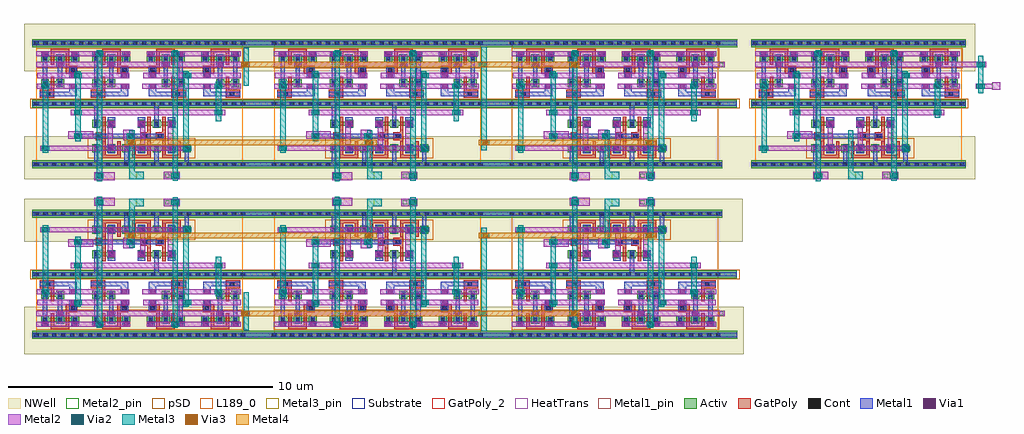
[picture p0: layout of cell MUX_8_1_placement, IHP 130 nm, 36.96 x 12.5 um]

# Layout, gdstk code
from math import pi, radians
import gdstk
lib = gdstk.Library(unit=1e-6, precision=5e-09)
def R(c, l, rs):  # rectangles x0, y0, x1, y1
    for r in rs: c.add(gdstk.rectangle(r[:2], r[2:], *l))
def A(c, l, x, y, w, h, nx, ny, dx, dy):  # array of equal rectangles
    R(c, l, [(x+i*dx, y+j*dy, x+i*dx+w, y+j*dy+h) for i in range(nx) for j in range(ny)])
Activ = (1, 0)
GatPoly = (5, 0)
GatPoly_2 = (5, 2)
Cont = (6, 0)
Metal1 = (8, 0)
Metal1_pin = (8, 2)
Metal2 = (10, 0)
Metal2_pin = (10, 2)
pSD = (14, 0)
Via1 = (19, 0)
Via2 = (29, 0)
Metal3 = (30, 0)
Metal3_pin = (30, 2)
NWell = (31, 0)
Substrate = (40, 0)
Via3 = (49, 0)
Metal4 = (50, 0)
HeatTrans = (51, 0)
L189_0 = (189, 0)

via_stack_10 = lib.new_cell('via_stack$10')
R(via_stack_10, Metal3, [(-0.145,-0.1,0.145,0.1)])
R(via_stack_10, Via3, [(-0.095,-0.095,0.095,0.095)])
R(via_stack_10, Metal4, [(-0.145,-0.1,0.145,0.1)])

nmos_1_6_2 = lib.new_cell('nmos$1$6$2')
R(nmos_1_6_2, Activ, [(0,0.025,0.3,0.325), (0.57,0.025,0.87,0.325), (0,0.1,0.87,0.25)])
R(nmos_1_6_2, GatPoly, [(0.37,-0.08,0.5,0.43)])
R(nmos_1_6_2, GatPoly_2, [(0.37,-0.08,0.5,0.43)])
R(nmos_1_6_2, Cont, [(0.07,0.095,0.23,0.255), (0.64,0.095,0.8,0.255)])
R(nmos_1_6_2, Metal1, [(0.07,0.045,0.23,0.305), (0.64,0.045,0.8,0.305)])
R(nmos_1_6_2, Metal1_pin, [(0.07,0.045,0.23,0.305), (0.64,0.045,0.8,0.305)])
R(nmos_1_6_2, HeatTrans, [(0.37,-0.08,0.5,0.43)])
nmos_1_6_2.add(gdstk.Label('nmos', (0.435,0.175), layer=63, texttype=0))
nmos_1_6_2.add(gdstk.Label('nmos', (0.435,0.175), layer=51, texttype=0))

pmos_7_2 = lib.new_cell('pmos$7$2')
R(pmos_7_2, Activ, [(0,-0.04,0.3,0.26), (0.57,-0.04,0.87,0.26), (0,0.035,0.87,0.185)])
R(pmos_7_2, GatPoly, [(0.37,-0.145,0.5,0.365), (0.37,-0.145,0.5,0.365)])
R(pmos_7_2, Cont, [(0.07,0.03,0.23,0.19), (0.64,0.03,0.8,0.19)])
R(pmos_7_2, Metal1, [(0.07,-0.02,0.23,0.24), (0.07,-0.02,0.23,0.25), (0.64,-0.02,0.8,0.24), (0.64,-0.02,0.8,0.24)])
R(pmos_7_2, pSD, [(-0.18,-0.265,1.05,0.485)])
R(pmos_7_2, NWell, [(-0.31,-0.38,1.18,0.545)])
R(pmos_7_2, Substrate, [(0.57,-0.04,0.87,0.26)])
R(pmos_7_2, HeatTrans, [(0.37,-0.145,0.5,0.365)])
pmos_7_2.add(gdstk.Label('pmos', (0.435,0.11), layer=63, texttype=0))
pmos_7_2.add(gdstk.Label('pmos', (0.435,0.11), layer=51, texttype=0))

via_stack_11 = lib.new_cell('via_stack$11')
R(via_stack_11, Metal1, [(-0.145,-0.105,0.145,0.105)])
R(via_stack_11, Metal2, [(-0.145,-0.1,0.145,0.1)])
R(via_stack_11, Via1, [(-0.095,-0.095,0.095,0.095)])

tg_2c_3 = lib.new_cell('TG_2C$3')
R(tg_2c_3, GatPoly, [(1.38,1.31,1.68,1.61)])
R(tg_2c_3, GatPoly_2, [(0.26,0.395,0.81,0.695), (1.38,1.31,1.68,1.61)])
R(tg_2c_3, Cont, [(0.5,0.465,0.66,0.625), (1.45,1.38,1.61,1.54)])
R(tg_2c_3, Metal1, [(0.25,0.095,1.83,0.255), (0.26,0.455,1.67,0.635), (1.38,0.455,1.67,0.81), (1.38,1.195,1.67,1.55), (1.38,1.37,1.67,1.55), (0.42,1.75,0.54,2.04), (1.52,1.75,1.68,2.04), (0.24,2.39,1.82,2.55)])
R(tg_2c_3, Metal1_pin, [(0.25,0.095,1.83,0.255), (0.26,0.455,0.8,0.635), (0.95,0.865,1.11,1.02), (1.38,1.37,1.67,1.55), (0.24,2.39,1.82,2.55)])
R(tg_2c_3, pSD, [(-0.09,-0.005,1.94,0.355)])
R(tg_2c_3, NWell, [(0,2.335,2.06,2.86)])
tg_2c_3.add(gdstk.FlexPath([(0.46,2.03),(0.46,0.815)], 0.16, ends="flush", simple_path=True, layer=8, datatype=0))  # Metal1
tg_2c_3.add(gdstk.FlexPath([(1.03,2.03),(1.03,0.815)], 0.16, ends="flush", simple_path=True, layer=8, datatype=0))  # Metal1
tg_2c_3.add(gdstk.FlexPath([(0.26,0.545),(0.81,0.545),(0.81,0.545)], 0.3, ends="flush", simple_path=True, layer=5, datatype=0))  # GatPoly
tg_2c_3.add(gdstk.FlexPath([(1.315,1.645),(1.315,1.34),(1.315,1.31)], 0.13, ends="flush", simple_path=True, layer=5, datatype=0))  # GatPoly
tg_2c_3.add(gdstk.FlexPath([(0.745,2.085),(0.745,2.185),(1.315,2.185),(1.315,2.085)], 0.13, ends="flush", simple_path=True, layer=5, datatype=0))  # GatPoly
tg_2c_3.add(gdstk.FlexPath([(0.31,2.065),(1.75,2.065),(1.75,2.065)], 0.2, ends="flush", simple_path=True, layer=10, datatype=0))  # Metal2
tg_2c_3.add(gdstk.Reference(nmos_1_6_2, (0.31,0.77)))
tg_2c_3.add(gdstk.Reference(pmos_7_2, (0.31,1.79)))
tg_2c_3.add(gdstk.Reference(pmos_7_2, (0.88,1.79)))
tg_2c_3.add(gdstk.Reference(via_stack_11, (0.46,2.065)))
tg_2c_3.add(gdstk.Reference(via_stack_11, (1.595,2.065)))
tg_2c_3.add(gdstk.Label('VCTRLP', (1.51,1.39), layer=8, texttype=25))
tg_2c_3.add(gdstk.Label('VSS', (0.33,0.155), layer=8, texttype=25))
tg_2c_3.add(gdstk.Label('VCTRLN', (0.495,0.51), layer=8, texttype=25))
tg_2c_3.add(gdstk.Label('VOUT', (1.065,0.91), layer=8, texttype=25))
tg_2c_3.add(gdstk.Label('VIN', (0.425,0.935), layer=8, texttype=25))
tg_2c_3.add(gdstk.Label('VDD', (0.33,2.45), layer=8, texttype=25))

pmos_27_1 = lib.new_cell('pmos$27$1')
R(pmos_27_1, Activ, [(0,0,0.3,0.3), (0.57,0,0.87,0.3), (0,0.075,0.87,0.225)])
R(pmos_27_1, GatPoly, [(0.37,-0.105,0.5,0.405), (0.37,-0.105,0.5,0.405)])
R(pmos_27_1, Cont, [(0.07,0.07,0.23,0.23), (0.64,0.07,0.8,0.23)])
R(pmos_27_1, Metal1, [(0.07,0.02,0.23,0.28), (0.07,0.02,0.23,0.28), (0.64,0.02,0.8,0.28), (0.64,0.02,0.8,0.28)])
R(pmos_27_1, pSD, [(-0.18,-0.225,1.05,0.525)])
R(pmos_27_1, NWell, [(-0.31,-0.31,1.18,0.61)])
R(pmos_27_1, Substrate, [(0.57,0,0.87,0.3)])
R(pmos_27_1, HeatTrans, [(0.37,-0.105,0.5,0.405)])
pmos_27_1.add(gdstk.Label('pmos', (0.435,0.15), layer=63, texttype=0))
pmos_27_1.add(gdstk.Label('pmos', (0.435,0.15), layer=51, texttype=0))

nmos_1_2_3_1 = lib.new_cell('nmos$1$2$3$1')
R(nmos_1_2_3_1, Activ, [(0,0,0.3,0.3), (0.57,0,0.87,0.3), (0,0.075,0.87,0.225)])
R(nmos_1_2_3_1, GatPoly, [(0.37,-0.105,0.5,0.405)])
R(nmos_1_2_3_1, GatPoly_2, [(0.37,-0.105,0.5,0.405)])
R(nmos_1_2_3_1, Cont, [(0.07,0.07,0.23,0.23), (0.64,0.07,0.8,0.23)])
R(nmos_1_2_3_1, Metal1, [(0.07,0.02,0.23,0.28), (0.64,0.02,0.8,0.28)])
R(nmos_1_2_3_1, Metal1_pin, [(0.07,0.02,0.23,0.28), (0.64,0.02,0.8,0.28)])
R(nmos_1_2_3_1, HeatTrans, [(0.37,-0.105,0.5,0.405)])
nmos_1_2_3_1.add(gdstk.Label('nmos', (0.435,0.15), layer=63, texttype=0))
nmos_1_2_3_1.add(gdstk.Label('nmos', (0.435,0.15), layer=51, texttype=0))

inv_1 = lib.new_cell('INV$1')
R(inv_1, GatPoly, [(-0.045,-0.365,0.085,0.135), (-0.045,0.645,0.655,0.775)])
R(inv_1, GatPoly_2, [(-0.045,-0.285,0.085,0.135)])
R(inv_1, Metal1, [(-0.6,-1.375,1.235,-1.215), (-0.345,-1.375,-0.185,-0.49), (-0.345,0.26,-0.185,1.075), (0.205,0.26,0.405,0.52), (0.795,0.26,0.955,1.075), (-0.345,0.915,0.955,1.075)])
R(inv_1, Metal1_pin, [(-0.6,-1.375,1.235,-1.215), (-0.345,-1.375,-0.185,-1.215), (-0.345,0.915,-0.185,1.075), (-0.345,0.915,0.955,1.075), (0.795,0.915,0.955,1.075)])
R(inv_1, Metal2, [(0.16,-0.645,0.36,0.49)])
R(inv_1, Metal2_pin, [(0.16,-0.17,0.36,0.015)])
R(inv_1, pSD, [(-0.73,-1.475,1.365,-1.115)])
r = gdstk.Reference(pmos_27_1, (-0.415,0.24)); r.repetition = gdstk.Repetition(2, 1, v1=(0.57,0), v2=(0,0)); inv_1.add(r)
inv_1.add(gdstk.Reference(nmos_1_2_3_1, (-0.415,-0.69)))

inv_d3_1 = lib.new_cell('INV_D3$1')
R(inv_d3_1, GatPoly, [(0.435,1.055,0.685,1.355), (2.145,1.055,2.395,1.355), (2.715,1.055,2.965,1.355)])
R(inv_d3_1, GatPoly_2, [(0.435,1.055,0.685,1.355), (2.145,1.055,2.395,1.355), (2.715,1.055,2.965,1.355)])
R(inv_d3_1, Cont, [(0.515,1.125,0.675,1.285), (2.225,1.125,2.385,1.285), (2.795,1.125,2.955,1.285)])
R(inv_d3_1, Metal1, [(0.13,-0.1,4.245,0.06), (2.03,0.49,2.32,0.865), (3.17,0.49,3.46,0.865), (0.89,0.495,1.18,0.865), (0.465,1.115,0.685,1.295), (0.465,1.115,3.01,1.295), (2.175,1.115,2.395,1.295), (2.785,1.115,2.965,1.295), (0.89,1.535,1.18,1.85), (2.03,1.535,2.32,1.86), (3.17,1.535,3.46,1.865), (0.385,2.19,3.965,2.35)])
R(inv_d3_1, Metal1_pin, [(0.13,-0.1,4.245,0.06), (0.385,-0.1,0.545,0.06), (0.465,1.115,0.685,1.295), (2.175,1.115,2.395,1.295), (2.785,1.115,2.965,1.295), (0.385,2.19,0.545,2.35), (0.385,2.19,3.965,2.35)])
R(inv_d3_1, Metal2, [(0.935,1.565,3.415,1.765)])
R(inv_d3_1, NWell, [(0.005,2.125,4.345,2.735)])
r = gdstk.Reference(inv_1, (0.73,1.275)); r.repetition = gdstk.Repetition(2, 1, v1=(2.28,0), v2=(0,0)); inv_d3_1.add(r)
inv_d3_1.add(gdstk.Reference(via_stack_11, (1.035,0.73)))
inv_d3_1.add(gdstk.Reference(via_stack_11, (3.315,0.73)))
inv_d3_1.add(gdstk.Reference(via_stack_11, (1.035,1.665)))
inv_d3_1.add(gdstk.Reference(via_stack_11, (2.175,1.665)))
inv_d3_1.add(gdstk.Reference(via_stack_11, (3.315,1.665)))
inv_d3_1.add(gdstk.Reference(via_stack_11, (2.175,0.73)))
inv_d3_1.add(gdstk.Reference(inv_1, (2.48,1.275), rotation=pi, x_reflection=True))
inv_d3_1.add(gdstk.Label('VSS', (0.5,0.035), layer=8, texttype=2))
inv_d3_1.add(gdstk.Label('VIN', (0.675,1.235), layer=8, texttype=2))
inv_d3_1.add(gdstk.Label('VIN', (0.675,1.235), layer=8, texttype=2))
inv_d3_1.add(gdstk.Label('VIN', (0.675,1.235), layer=8, texttype=2))
inv_d3_1.add(gdstk.Label('VDD', (0.515,2.325), layer=8, texttype=2))
inv_d3_1.add(gdstk.Label('VIN', (0.655,1.19), layer=8, texttype=25))
inv_d3_1.add(gdstk.Label('VDD', (1.315,2.265), layer=8, texttype=25))
inv_d3_1.add(gdstk.Label('VSS', (1.515,-0.02), layer=8, texttype=25))
inv_d3_1.add(gdstk.Label('VOUT', (3.325,1.23), layer=10, texttype=25))

mux_2_1_placement_3 = lib.new_cell('MUX_2_1_placement$3')
R(mux_2_1_placement_3, pSD, [(-1.81,3.835,6.05,4.585)])
mux_2_1_placement_3.add(gdstk.Reference(tg_2c_3, (4.12,2.31), rotation=pi, x_reflection=True))
mux_2_1_placement_3.add(gdstk.Reference(tg_2c_3, (0,2.31)))
mux_2_1_placement_3.add(gdstk.Reference(inv_d3_1, (0,2.465), x_reflection=True))
mux_2_1_placement_3.add(gdstk.Reference(tg_2c_3, (6.18,2.31), rotation=pi, x_reflection=True))
mux_2_1_placement_3.add(gdstk.Reference(tg_2c_3, (-1.94,2.31)))

via_stack_4_1 = lib.new_cell('via_stack$4$1')
R(via_stack_4_1, Metal2, [(-0.145,-0.1,0.145,0.1)])
R(via_stack_4_1, Via2, [(-0.095,-0.095,0.095,0.095)])
R(via_stack_4_1, Metal3, [(-0.145,-0.1,0.145,0.1)])

via_stack_5_1 = lib.new_cell('via_stack$5$1')
R(via_stack_5_1, Metal1, [(-0.145,-0.105,0.145,0.105)])
R(via_stack_5_1, Metal2, [(-0.145,-0.1,0.145,0.1)])
R(via_stack_5_1, Via1, [(-0.095,-0.095,0.095,0.095)])
R(via_stack_5_1, Via2, [(-0.095,-0.095,0.095,0.095)])
R(via_stack_5_1, Metal3, [(-0.145,-0.1,0.145,0.1)])

mux_2_1_routed_3 = lib.new_cell('MUX_2_1_routed$3')
R(mux_2_1_routed_3, Metal2, [(2.14,-0.02,2.905,0.27), (4.765,0,5.365,0.29)])
R(mux_2_1_routed_3, Metal2_pin, [(2.425,-0.02,2.905,0.27), (5.025,0,5.315,0.29)])
R(mux_2_1_routed_3, Metal3, [(3.465,0,4.015,0.29)])
R(mux_2_1_routed_3, Metal3_pin, [(3.725,0,4.015,0.29)])
mux_2_1_routed_3.add(gdstk.FlexPath([(4.76,1.645),(1.37,1.645)], 0.16, ends="flush", simple_path=True, layer=8, datatype=0))  # Metal1
mux_2_1_routed_3.add(gdstk.FlexPath([(8.02,4.35),(4.675,4.35)], 0.2, ends="flush", simple_path=True, layer=10, datatype=0))  # Metal2
mux_2_1_routed_3.add(gdstk.FlexPath([(4.695,4.35),(-0.06,4.35)], 0.2, ends="flush", simple_path=True, layer=10, datatype=0))  # Metal2
mux_2_1_routed_3.add(gdstk.FlexPath([(3.465,3.94),(-0.02,3.94)], 0.2, ends="flush", simple_path=True, layer=10, datatype=0))  # Metal2
mux_2_1_routed_3.add(gdstk.FlexPath([(-0.06,4.76),(2.405,4.76)], 0.2, ends="flush", simple_path=True, layer=10, datatype=0))  # Metal2
mux_2_1_routed_3.add(gdstk.FlexPath([(7.69,3.53),(3.96,3.53)], 0.2, ends="flush", simple_path=True, layer=10, datatype=0))  # Metal2
mux_2_1_routed_3.add(gdstk.FlexPath([(7.68,3.94),(3.985,3.94)], 0.2, ends="flush", simple_path=True, layer=10, datatype=0))  # Metal2
mux_2_1_routed_3.add(gdstk.FlexPath([(5.815,1.185),(0.085,1.185)], 0.2, ends="flush", simple_path=True, layer=10, datatype=0))  # Metal2
mux_2_1_routed_3.add(gdstk.FlexPath([(3.465,3.53),(-0.045,3.53)], 0.2, ends="flush", simple_path=True, layer=10, datatype=0))  # Metal2
mux_2_1_routed_3.add(gdstk.FlexPath([(7.685,4.76),(4.675,4.76)], 0.2, ends="flush", simple_path=True, layer=10, datatype=0))  # Metal2
mux_2_1_routed_3.add(gdstk.FlexPath([(7.105,2.54),(1.25,2.54)], 0.2, ends="flush", simple_path=True, layer=10, datatype=0))  # Metal2
mux_2_1_routed_3.add(gdstk.FlexPath([(6.845,2.21),(6.845,3.7)], 0.2, ends="flush", simple_path=True, layer=30, datatype=0))  # Metal3
mux_2_1_routed_3.add(gdstk.FlexPath([(1.515,1.455),(1.515,4.105)], 0.2, ends="flush", simple_path=True, layer=30, datatype=0))  # Metal3
mux_2_1_routed_3.add(gdstk.FlexPath([(2.335,-0.065),(2.335,4.89)], 0.2, ends="flush", simple_path=True, layer=30, datatype=0))  # Metal3
mux_2_1_routed_3.add(gdstk.FlexPath([(5.205,-0.045),(5.205,4.89)], 0.2, ends="flush", simple_path=True, layer=30, datatype=0))  # Metal3
mux_2_1_routed_3.add(gdstk.FlexPath([(5.615,1.055),(5.615,4.105)], 0.2, ends="flush", simple_path=True, layer=30, datatype=0))  # Metal3
mux_2_1_routed_3.add(gdstk.FlexPath([(3.565,0),(3.565,1.87)], 0.2, ends="flush", simple_path=True, layer=30, datatype=0))  # Metal3
mux_2_1_routed_3.add(gdstk.FlexPath([(0.285,1.02),(0.285,3.715)], 0.2, ends="flush", simple_path=True, layer=30, datatype=0))  # Metal3
mux_2_1_routed_3.add(gdstk.Reference(mux_2_1_placement_3, (1.75,0.385)))
mux_2_1_routed_3.add(gdstk.Reference(via_stack_11, (0.845,4.35)))
mux_2_1_routed_3.add(gdstk.Reference(via_stack_11, (2.78,4.35)))
mux_2_1_routed_3.add(gdstk.Reference(via_stack_11, (1.335,3.94)))
mux_2_1_routed_3.add(gdstk.Reference(via_stack_11, (1.335,3.53)))
mux_2_1_routed_3.add(gdstk.Reference(via_stack_11, (3.275,3.94)))
mux_2_1_routed_3.add(gdstk.Reference(via_stack_11, (3.275,3.53)))
mux_2_1_routed_3.add(gdstk.Reference(via_stack_11, (4.84,4.35)))
mux_2_1_routed_3.add(gdstk.Reference(via_stack_11, (6.9,4.35)))
mux_2_1_routed_3.add(gdstk.Reference(via_stack_11, (4.345,3.94)))
mux_2_1_routed_3.add(gdstk.Reference(via_stack_11, (4.345,3.53)))
mux_2_1_routed_3.add(gdstk.Reference(via_stack_11, (6.405,3.94)))
mux_2_1_routed_3.add(gdstk.Reference(via_stack_11, (6.405,3.53)))
mux_2_1_routed_3.add(gdstk.Reference(via_stack_4_1, (1.515,3.94)))
mux_2_1_routed_3.add(gdstk.Reference(via_stack_4_1, (5.66,3.94)))
mux_2_1_routed_3.add(gdstk.Reference(via_stack_4_1, (0.285,3.53)))
mux_2_1_routed_3.add(gdstk.Reference(via_stack_4_1, (6.845,3.53)))
mux_2_1_routed_3.add(gdstk.Reference(via_stack_4_1, (1.515,2.54)))
mux_2_1_routed_3.add(gdstk.Reference(via_stack_4_1, (6.845,2.54)))
mux_2_1_routed_3.add(gdstk.Reference(via_stack_4_1, (5.66,1.185)))
mux_2_1_routed_3.add(gdstk.Reference(via_stack_4_1, (0.285,1.185)))
mux_2_1_routed_3.add(gdstk.Reference(via_stack_4_1, (5.205,4.76)))
mux_2_1_routed_3.add(gdstk.Reference(via_stack_4_1, (2.335,4.76)))
mux_2_1_routed_3.add(gdstk.Reference(via_stack_5_1, (1.515,1.645)))
mux_2_1_routed_3.add(gdstk.Reference(via_stack_4_1, (2.335,0.135)))
mux_2_1_routed_3.add(gdstk.Reference(via_stack_4_1, (5.205,0.135)))

via_stack_6_1 = lib.new_cell('via_stack$6$1')
R(via_stack_6_1, Activ, [(-4.06,-0.15,4.06,0.15)])
A(via_stack_6_1, Cont, -3.99, -0.08, 0.16, 0.16, 24, 1, 0.34, 0)
R(via_stack_6_1, Metal1, [(-4.04,-0.08,4.04,0.08)])

via_stack_13 = lib.new_cell('via_stack$13')
R(via_stack_13, Metal1, [(-0.145,-0.105,0.145,0.105)])
R(via_stack_13, Metal2, [(-0.145,-0.1,0.145,0.1)])
R(via_stack_13, Via1, [(-0.095,-0.095,0.095,0.095)])
R(via_stack_13, Via2, [(-0.095,-0.095,0.095,0.095)])
R(via_stack_13, Metal3, [(-0.145,-0.1,0.145,0.1)])

mux_2_1_ni_1 = lib.new_cell('MUX_2_1_NI$1')
R(mux_2_1_ni_1, Metal1_pin, [(1.985,0.5,2.145,0.66), (0.105,2.79,0.265,2.95), (0.085,5.085,0.245,5.245)])
R(mux_2_1_ni_1, Metal2, [(1.155,1.545,2.1,1.835)])
R(mux_2_1_ni_1, Metal2_pin, [(4.82,0.06,4.98,0.22), (2.53,0.065,2.69,0.225), (7.8,4.265,7.96,4.425)])
R(mux_2_1_ni_1, Metal3_pin, [(3.77,0.07,3.93,0.23)])
R(mux_2_1_ni_1, NWell, [(-0.52,0.005,8.7,1.645), (-0.525,4.105,8.695,5.89)])
R(mux_2_1_ni_1, L189_0, [(-0.055,0.58,7.765,5.165)])
r = gdstk.Reference(mux_2_1_routed_3, (0,0)); r.repetition = gdstk.Repetition(1, 1, v1=(0,0), v2=(0,0)); mux_2_1_ni_1.add(r)
mux_2_1_ni_1.add(gdstk.Reference(via_stack_6_1, (3.855,2.87)))
mux_2_1_ni_1.add(gdstk.Reference(via_stack_6_1, (3.855,5.165)))
mux_2_1_ni_1.add(gdstk.Reference(via_stack_6_1, (3.855,0.58)))
mux_2_1_ni_1.add(gdstk.Reference(via_stack_13, (3.51,1.645)))
mux_2_1_ni_1.add(gdstk.Label('VDD', (0.165,5.165), layer=8, texttype=25))
mux_2_1_ni_1.add(gdstk.Label('VDD', (2.065,0.58), layer=8, texttype=25))
mux_2_1_ni_1.add(gdstk.Label('VSS', (0.185,2.87), layer=8, texttype=25))
mux_2_1_ni_1.add(gdstk.Label('VOUT', (7.88,4.345), layer=10, texttype=25))
mux_2_1_ni_1.add(gdstk.Label('VINA', (2.61,0.145), layer=10, texttype=25))
mux_2_1_ni_1.add(gdstk.Label('VINB', (4.9,0.14), layer=10, texttype=25))
mux_2_1_ni_1.add(gdstk.Label('VS', (3.85,0.15), layer=30, texttype=25))
mux_2_1_ni_1.add(gdstk.Label('VS', (3.845,0.19), layer=30, texttype=25))

mux_2_1_track__1 = lib.new_cell('MUX_2_1(Track)$1')
mux_2_1_track__1.add(gdstk.Reference(mux_2_1_ni_1, (0,0)))

mux_4_1_placement_1 = lib.new_cell('MUX_4_1_placement$1')
A(mux_4_1_placement_1, Metal2, 2.865, 1.495, 0.38, 0.38, 3, 1, 9, 0)
mux_4_1_placement_1.add(gdstk.FlexPath([(7.535,3.555),(7.535,4.985)], 0.2, ends="flush", simple_path=True, layer=30, datatype=0))  # Metal3
mux_4_1_placement_1.add(gdstk.FlexPath([(16.535,1.1),(16.535,5.02)], 0.2, ends="flush", simple_path=True, layer=30, datatype=0))  # Metal3
mux_4_1_placement_1.add(gdstk.FlexPath([(20.145,4.35),(7.425,4.35)], 0.2, ends="flush", simple_path=True, layer=50, datatype=0))  # Metal4
mux_4_1_placement_1.add(gdstk.FlexPath([(23.075,1.4),(16.335,1.4)], 0.2, ends="flush", simple_path=True, layer=50, datatype=0))  # Metal4
r = gdstk.Reference(mux_2_1_track__1, (-0.36,0)); r.repetition = gdstk.Repetition(3, 1, v1=(9,0), v2=(0,0)); mux_4_1_placement_1.add(r)

via_stack_8 = lib.new_cell('via_stack$8')
R(via_stack_8, Metal2, [(-0.145,-0.1,0.145,0.1)])
R(via_stack_8, Via2, [(-0.095,-0.095,0.095,0.095)])
R(via_stack_8, Metal3, [(-0.145,-0.1,0.145,0.1)])
R(via_stack_8, Via3, [(-0.095,-0.095,0.095,0.095)])
R(via_stack_8, Metal4, [(-0.145,-0.1,0.145,0.1)])

via_stack_7 = lib.new_cell('via_stack$7')
R(via_stack_7, Metal2, [(-0.145,-0.1,0.145,0.1)])
R(via_stack_7, Via2, [(-0.095,-0.095,0.095,0.095)])
R(via_stack_7, Metal3, [(-0.145,-0.1,0.145,0.1)])

mux_4_1_routed_1 = lib.new_cell('MUX_4_1_routed$1')
R(mux_4_1_routed_1, Activ, [(2.37,0.43,23.84,0.73), (0.25,2.72,26.115,3.02), (0.24,5.015,26.125,5.315)])
R(mux_4_1_routed_1, Metal1, [(2.37,0.5,23.84,0.66), (0.25,2.79,26.115,2.95), (0.24,5.085,26.125,5.245)])
R(mux_4_1_routed_1, pSD, [(0.14,2.69,26.225,3.05)])
mux_4_1_routed_1.add(gdstk.Reference(mux_4_1_placement_1, (0,0)))
mux_4_1_routed_1.add(gdstk.Reference(via_stack_8, (7.49,4.35)))
mux_4_1_routed_1.add(gdstk.Reference(via_stack_10, (16.58,1.4)))
mux_4_1_routed_1.add(gdstk.Reference(via_stack_7, (16.49,4.35)))
mux_4_1_routed_1.add(gdstk.Reference(via_stack_10, (19.93,4.35)))
mux_4_1_routed_1.add(gdstk.Reference(via_stack_10, (22.8,1.4)))
mux_4_1_routed_1.add(gdstk.Label('VOUT', (25.555,4.315), layer=10, texttype=25))
mux_4_1_routed_1.add(gdstk.Label('VINA', (2.17,0.085), layer=10, texttype=25))
mux_4_1_routed_1.add(gdstk.Label('VINB', (4.755,0.07), layer=10, texttype=25))
mux_4_1_routed_1.add(gdstk.Label('VINC', (11.18,0.085), layer=10, texttype=25))
mux_4_1_routed_1.add(gdstk.Label('VIND', (13.8,0.065), layer=10, texttype=25))
mux_4_1_routed_1.add(gdstk.Label('VS[1]', (21.485,0.09), layer=30, texttype=25))
mux_4_1_routed_1.add(gdstk.Label('VS[0]', (3.485,0.085), layer=30, texttype=25))

via_stack_10_1 = lib.new_cell('via_stack$10$1')
R(via_stack_10_1, Metal3, [(-0.145,-0.1,0.145,0.1)])
R(via_stack_10_1, Via3, [(-0.095,-0.095,0.095,0.095)])
R(via_stack_10_1, Metal4, [(-0.145,-0.1,0.145,0.1)])

mux_4_1_ni = lib.new_cell('MUX_4_1_NI')
R(mux_4_1_ni, Metal1_pin, [(-0.495,0.5,-0.335,0.66), (-0.5,2.79,-0.34,2.95), (-0.495,5.085,-0.335,5.245)])
R(mux_4_1_ni, Metal3, [(3.005,1.3,3.105,1.545)])
R(mux_4_1_ni, NWell, [(26.335,4.105,26.365,5.89)])
mux_4_1_ni.add(gdstk.FlexPath([(12.465,1.4),(2.935,1.4)], 0.2, ends="flush", simple_path=True, layer=50, datatype=0))  # Metal4
mux_4_1_ni.add(gdstk.Reference(via_stack_10, (3.16,1.4)))
r = gdstk.Reference(mux_4_1_routed_1, (0,0)); r.repetition = gdstk.Repetition(1, 1, v1=(0,0), v2=(0,0)); mux_4_1_ni.add(r)
mux_4_1_ni.add(gdstk.Reference(via_stack_10_1, (12.16,1.4)))
mux_4_1_ni.add(gdstk.Label('VDD', (-0.41,5.17), layer=8, texttype=25))
mux_4_1_ni.add(gdstk.Label('VDD', (-0.395,0.58), layer=8, texttype=25))
mux_4_1_ni.add(gdstk.Label('VSS', (-0.42,2.87), layer=8, texttype=25))

mux_4_1_track_ = lib.new_cell('MUX_4_1(Track)')
mux_4_1_track_.add(gdstk.Reference(mux_4_1_ni, (0,0)))

nmos_1_6_1 = lib.new_cell('nmos$1$6$1')
R(nmos_1_6_1, Activ, [(0,0.025,0.3,0.325), (0.57,0.025,0.87,0.325), (0,0.1,0.87,0.25)])
R(nmos_1_6_1, GatPoly, [(0.37,-0.08,0.5,0.43)])
R(nmos_1_6_1, GatPoly_2, [(0.37,-0.08,0.5,0.43)])
R(nmos_1_6_1, Cont, [(0.07,0.095,0.23,0.255), (0.64,0.095,0.8,0.255)])
R(nmos_1_6_1, Metal1, [(0.07,0.045,0.23,0.305), (0.64,0.045,0.8,0.305)])
R(nmos_1_6_1, Metal1_pin, [(0.07,0.045,0.23,0.305), (0.64,0.045,0.8,0.305)])
R(nmos_1_6_1, HeatTrans, [(0.37,-0.08,0.5,0.43)])
nmos_1_6_1.add(gdstk.Label('nmos', (0.435,0.175), layer=63, texttype=0))
nmos_1_6_1.add(gdstk.Label('nmos', (0.435,0.175), layer=51, texttype=0))

pmos_7_1 = lib.new_cell('pmos$7$1')
R(pmos_7_1, Activ, [(0,-0.04,0.3,0.26), (0.57,-0.04,0.87,0.26), (0,0.035,0.87,0.185)])
R(pmos_7_1, GatPoly, [(0.37,-0.145,0.5,0.365), (0.37,-0.145,0.5,0.365)])
R(pmos_7_1, Cont, [(0.07,0.03,0.23,0.19), (0.64,0.03,0.8,0.19)])
R(pmos_7_1, Metal1, [(0.07,-0.02,0.23,0.24), (0.07,-0.02,0.23,0.25), (0.64,-0.02,0.8,0.24), (0.64,-0.02,0.8,0.24)])
R(pmos_7_1, pSD, [(-0.18,-0.265,1.05,0.485)])
R(pmos_7_1, NWell, [(-0.31,-0.38,1.18,0.545)])
R(pmos_7_1, Substrate, [(0.57,-0.04,0.87,0.26)])
R(pmos_7_1, HeatTrans, [(0.37,-0.145,0.5,0.365)])
pmos_7_1.add(gdstk.Label('pmos', (0.435,0.11), layer=63, texttype=0))
pmos_7_1.add(gdstk.Label('pmos', (0.435,0.11), layer=51, texttype=0))

via_stack = lib.new_cell('via_stack')
R(via_stack, Metal1, [(-0.145,-0.105,0.145,0.105)])
R(via_stack, Metal2, [(-0.145,-0.1,0.145,0.1)])
R(via_stack, Via1, [(-0.095,-0.095,0.095,0.095)])

tg_2c = lib.new_cell('TG_2C')
R(tg_2c, GatPoly, [(1.38,1.31,1.68,1.61)])
R(tg_2c, GatPoly_2, [(0.26,0.395,0.81,0.695), (1.38,1.31,1.68,1.61)])
R(tg_2c, Cont, [(0.5,0.465,0.66,0.625), (1.45,1.38,1.61,1.54)])
R(tg_2c, Metal1, [(0.25,0.095,1.83,0.255), (0.26,0.455,1.67,0.635), (1.38,0.455,1.67,0.81), (1.38,1.195,1.67,1.55), (1.38,1.37,1.67,1.55), (0.42,1.75,0.54,2.04), (1.52,1.75,1.68,2.04), (0.24,2.39,1.82,2.55)])
R(tg_2c, Metal1_pin, [(0.25,0.095,1.83,0.255), (0.26,0.455,0.8,0.635), (0.95,0.865,1.11,1.02), (1.38,1.37,1.67,1.55), (0.24,2.39,1.82,2.55)])
R(tg_2c, pSD, [(-0.09,-0.005,1.94,0.355)])
R(tg_2c, NWell, [(0,2.335,2.06,2.86)])
tg_2c.add(gdstk.FlexPath([(0.46,2.03),(0.46,0.815)], 0.16, ends="flush", simple_path=True, layer=8, datatype=0))  # Metal1
tg_2c.add(gdstk.FlexPath([(1.03,2.03),(1.03,0.815)], 0.16, ends="flush", simple_path=True, layer=8, datatype=0))  # Metal1
tg_2c.add(gdstk.FlexPath([(0.26,0.545),(0.81,0.545),(0.81,0.545)], 0.3, ends="flush", simple_path=True, layer=5, datatype=0))  # GatPoly
tg_2c.add(gdstk.FlexPath([(1.315,1.645),(1.315,1.34),(1.315,1.31)], 0.13, ends="flush", simple_path=True, layer=5, datatype=0))  # GatPoly
tg_2c.add(gdstk.FlexPath([(0.745,2.085),(0.745,2.185),(1.315,2.185),(1.315,2.085)], 0.13, ends="flush", simple_path=True, layer=5, datatype=0))  # GatPoly
tg_2c.add(gdstk.FlexPath([(0.31,2.065),(1.75,2.065),(1.75,2.065)], 0.2, ends="flush", simple_path=True, layer=10, datatype=0))  # Metal2
tg_2c.add(gdstk.Reference(nmos_1_6_1, (0.31,0.77)))
tg_2c.add(gdstk.Reference(pmos_7_1, (0.31,1.79)))
tg_2c.add(gdstk.Reference(pmos_7_1, (0.88,1.79)))
tg_2c.add(gdstk.Reference(via_stack, (0.46,2.065)))
tg_2c.add(gdstk.Reference(via_stack, (1.595,2.065)))
tg_2c.add(gdstk.Label('VCTRLP', (1.51,1.39), layer=8, texttype=25))
tg_2c.add(gdstk.Label('VSS', (0.33,0.155), layer=8, texttype=25))
tg_2c.add(gdstk.Label('VCTRLN', (0.495,0.51), layer=8, texttype=25))
tg_2c.add(gdstk.Label('VOUT', (1.065,0.91), layer=8, texttype=25))
tg_2c.add(gdstk.Label('VIN', (0.425,0.935), layer=8, texttype=25))
tg_2c.add(gdstk.Label('VDD', (0.33,2.45), layer=8, texttype=25))

pmos_27 = lib.new_cell('pmos$27')
R(pmos_27, Activ, [(0,0,0.3,0.3), (0.57,0,0.87,0.3), (0,0.075,0.87,0.225)])
R(pmos_27, GatPoly, [(0.37,-0.105,0.5,0.405), (0.37,-0.105,0.5,0.405)])
R(pmos_27, Cont, [(0.07,0.07,0.23,0.23), (0.64,0.07,0.8,0.23)])
R(pmos_27, Metal1, [(0.07,0.02,0.23,0.28), (0.07,0.02,0.23,0.28), (0.64,0.02,0.8,0.28), (0.64,0.02,0.8,0.28)])
R(pmos_27, pSD, [(-0.18,-0.225,1.05,0.525)])
R(pmos_27, NWell, [(-0.31,-0.31,1.18,0.61)])
R(pmos_27, Substrate, [(0.57,0,0.87,0.3)])
R(pmos_27, HeatTrans, [(0.37,-0.105,0.5,0.405)])
pmos_27.add(gdstk.Label('pmos', (0.435,0.15), layer=63, texttype=0))
pmos_27.add(gdstk.Label('pmos', (0.435,0.15), layer=51, texttype=0))

nmos_1_2_3 = lib.new_cell('nmos$1$2$3')
R(nmos_1_2_3, Activ, [(0,0,0.3,0.3), (0.57,0,0.87,0.3), (0,0.075,0.87,0.225)])
R(nmos_1_2_3, GatPoly, [(0.37,-0.105,0.5,0.405)])
R(nmos_1_2_3, GatPoly_2, [(0.37,-0.105,0.5,0.405)])
R(nmos_1_2_3, Cont, [(0.07,0.07,0.23,0.23), (0.64,0.07,0.8,0.23)])
R(nmos_1_2_3, Metal1, [(0.07,0.02,0.23,0.28), (0.64,0.02,0.8,0.28)])
R(nmos_1_2_3, Metal1_pin, [(0.07,0.02,0.23,0.28), (0.64,0.02,0.8,0.28)])
R(nmos_1_2_3, HeatTrans, [(0.37,-0.105,0.5,0.405)])
nmos_1_2_3.add(gdstk.Label('nmos', (0.435,0.15), layer=63, texttype=0))
nmos_1_2_3.add(gdstk.Label('nmos', (0.435,0.15), layer=51, texttype=0))

inv = lib.new_cell('INV')
R(inv, GatPoly, [(-0.045,-0.365,0.085,0.135), (-0.045,0.645,0.655,0.775)])
R(inv, GatPoly_2, [(-0.045,-0.285,0.085,0.135)])
R(inv, Metal1, [(-0.6,-1.375,1.235,-1.215), (-0.345,-1.375,-0.185,-0.49), (-0.345,0.26,-0.185,1.075), (0.205,0.26,0.405,0.52), (0.795,0.26,0.955,1.075), (-0.345,0.915,0.955,1.075)])
R(inv, Metal1_pin, [(-0.6,-1.375,1.235,-1.215), (-0.345,-1.375,-0.185,-1.215), (-0.345,0.915,-0.185,1.075), (-0.345,0.915,0.955,1.075), (0.795,0.915,0.955,1.075)])
R(inv, Metal2, [(0.205,-0.645,0.405,0.49)])
R(inv, Metal2_pin, [(0.205,-0.195,0.405,-0.01)])
R(inv, pSD, [(-0.73,-1.475,1.365,-1.115)])
r = gdstk.Reference(pmos_27, (-0.415,0.24)); r.repetition = gdstk.Repetition(2, 1, v1=(0.57,0), v2=(0,0)); inv.add(r)
inv.add(gdstk.Reference(nmos_1_2_3, (-0.415,-0.69)))

inv_d3 = lib.new_cell('INV_D3')
R(inv_d3, GatPoly, [(0.435,1.055,0.685,1.355), (2.145,1.055,2.395,1.355), (2.715,1.055,2.965,1.355)])
R(inv_d3, GatPoly_2, [(0.435,1.055,0.685,1.355), (2.145,1.055,2.395,1.355), (2.715,1.055,2.965,1.355)])
R(inv_d3, Cont, [(0.515,1.125,0.675,1.285), (2.225,1.125,2.385,1.285), (2.795,1.125,2.955,1.285)])
R(inv_d3, Metal1, [(0.13,-0.1,4.245,0.06), (2.03,0.49,2.32,0.865), (3.17,0.49,3.46,0.865), (0.89,0.495,1.18,0.865), (0.465,1.115,0.685,1.295), (0.465,1.115,3.01,1.295), (2.175,1.115,2.395,1.295), (2.785,1.115,2.965,1.295), (0.89,1.535,1.18,1.85), (2.03,1.535,2.32,1.86), (3.17,1.535,3.46,1.865), (0.385,2.19,3.965,2.35)])
R(inv_d3, Metal1_pin, [(0.13,-0.1,4.245,0.06), (0.385,-0.1,0.545,0.06), (0.465,1.115,0.685,1.295), (2.175,1.115,2.395,1.295), (2.785,1.115,2.965,1.295), (0.385,2.19,0.545,2.35), (0.385,2.19,3.965,2.35)])
R(inv_d3, Metal2, [(0.935,1.565,3.415,1.765)])
R(inv_d3, NWell, [(0.005,2.125,4.345,2.735)])
r = gdstk.Reference(inv, (0.73,1.275)); r.repetition = gdstk.Repetition(2, 1, v1=(2.28,0), v2=(0,0)); inv_d3.add(r)
inv_d3.add(gdstk.Reference(inv, (2.48,1.275), rotation=pi, x_reflection=True))
inv_d3.add(gdstk.Reference(via_stack, (1.035,0.73)))
inv_d3.add(gdstk.Reference(via_stack, (3.315,0.73)))
inv_d3.add(gdstk.Reference(via_stack, (1.035,1.665)))
inv_d3.add(gdstk.Reference(via_stack, (2.175,1.665)))
inv_d3.add(gdstk.Reference(via_stack, (3.315,1.665)))
inv_d3.add(gdstk.Reference(via_stack, (2.175,0.73)))
inv_d3.add(gdstk.Label('VSS', (0.5,0.035), layer=8, texttype=2))
inv_d3.add(gdstk.Label('VIN', (0.675,1.235), layer=8, texttype=2))
inv_d3.add(gdstk.Label('VIN', (0.675,1.235), layer=8, texttype=2))
inv_d3.add(gdstk.Label('VIN', (0.675,1.235), layer=8, texttype=2))
inv_d3.add(gdstk.Label('VDD', (0.515,2.325), layer=8, texttype=2))
inv_d3.add(gdstk.Label('VIN', (0.655,1.19), layer=8, texttype=25))
inv_d3.add(gdstk.Label('VDD', (1.315,2.265), layer=8, texttype=25))
inv_d3.add(gdstk.Label('VSS', (1.515,-0.02), layer=8, texttype=25))
inv_d3.add(gdstk.Label('VOUT', (3.325,1.23), layer=10, texttype=25))

mux_2_1_placement_2 = lib.new_cell('MUX_2_1_placement$2')
R(mux_2_1_placement_2, pSD, [(-1.81,3.835,6.05,4.585)])
mux_2_1_placement_2.add(gdstk.Reference(tg_2c, (4.12,2.31), rotation=pi, x_reflection=True))
mux_2_1_placement_2.add(gdstk.Reference(tg_2c, (0,2.31)))
mux_2_1_placement_2.add(gdstk.Reference(inv_d3, (0,2.465), x_reflection=True))
mux_2_1_placement_2.add(gdstk.Reference(tg_2c, (6.18,2.31), rotation=pi, x_reflection=True))
mux_2_1_placement_2.add(gdstk.Reference(tg_2c, (-1.94,2.31)))

via_stack_4 = lib.new_cell('via_stack$4')
R(via_stack_4, Metal2, [(-0.145,-0.1,0.145,0.1)])
R(via_stack_4, Via2, [(-0.095,-0.095,0.095,0.095)])
R(via_stack_4, Metal3, [(-0.145,-0.1,0.145,0.1)])

via_stack_5 = lib.new_cell('via_stack$5')
R(via_stack_5, Metal1, [(-0.145,-0.105,0.145,0.105)])
R(via_stack_5, Metal2, [(-0.145,-0.1,0.145,0.1)])
R(via_stack_5, Via1, [(-0.095,-0.095,0.095,0.095)])
R(via_stack_5, Via2, [(-0.095,-0.095,0.095,0.095)])
R(via_stack_5, Metal3, [(-0.145,-0.1,0.145,0.1)])

mux_2_1_routed_2 = lib.new_cell('MUX_2_1_routed$2')
R(mux_2_1_routed_2, Metal2, [(2.14,0,2.715,0.29), (4.765,0,5.365,0.29), (8.925,3.395,9.215,3.685)])
R(mux_2_1_routed_2, Metal2_pin, [(2.425,0,2.715,0.29), (5.025,0,5.315,0.29), (8.925,3.395,9.215,3.685)])
R(mux_2_1_routed_2, Metal3, [(3.465,0,4.015,0.29)])
R(mux_2_1_routed_2, Metal3_pin, [(3.725,0,4.015,0.29)])
mux_2_1_routed_2.add(gdstk.FlexPath([(4.76,1.645),(1.37,1.645)], 0.16, ends="flush", simple_path=True, layer=8, datatype=0))  # Metal1
mux_2_1_routed_2.add(gdstk.FlexPath([(3.465,3.94),(-0.005,3.94)], 0.2, ends="flush", simple_path=True, layer=10, datatype=0))  # Metal2
mux_2_1_routed_2.add(gdstk.FlexPath([(4.695,4.35),(-0.06,4.35)], 0.2, ends="flush", simple_path=True, layer=10, datatype=0))  # Metal2
mux_2_1_routed_2.add(gdstk.FlexPath([(-0.06,4.76),(2.405,4.76)], 0.2, ends="flush", simple_path=True, layer=10, datatype=0))  # Metal2
mux_2_1_routed_2.add(gdstk.FlexPath([(8.685,4.35),(4.675,4.35)], 0.2, ends="flush", simple_path=True, layer=10, datatype=0))  # Metal2
mux_2_1_routed_2.add(gdstk.FlexPath([(7.69,3.53),(3.96,3.53)], 0.2, ends="flush", simple_path=True, layer=10, datatype=0))  # Metal2
mux_2_1_routed_2.add(gdstk.FlexPath([(7.68,3.94),(3.985,3.94)], 0.2, ends="flush", simple_path=True, layer=10, datatype=0))  # Metal2
mux_2_1_routed_2.add(gdstk.FlexPath([(5.815,1.185),(0.085,1.185)], 0.2, ends="flush", simple_path=True, layer=10, datatype=0))  # Metal2
mux_2_1_routed_2.add(gdstk.FlexPath([(3.465,3.53),(-0.045,3.53)], 0.2, ends="flush", simple_path=True, layer=10, datatype=0))  # Metal2
mux_2_1_routed_2.add(gdstk.FlexPath([(7.685,4.76),(4.675,4.76)], 0.2, ends="flush", simple_path=True, layer=10, datatype=0))  # Metal2
mux_2_1_routed_2.add(gdstk.FlexPath([(8.96,3.53),(8.295,3.53)], 0.2, ends="flush", simple_path=True, layer=10, datatype=0))  # Metal2
mux_2_1_routed_2.add(gdstk.FlexPath([(7.105,2.54),(1.25,2.54)], 0.2, ends="flush", simple_path=True, layer=10, datatype=0))  # Metal2
mux_2_1_routed_2.add(gdstk.FlexPath([(1.515,1.455),(1.515,4.105)], 0.2, ends="flush", simple_path=True, layer=30, datatype=0))  # Metal3
mux_2_1_routed_2.add(gdstk.FlexPath([(2.335,-0.065),(2.335,4.89)], 0.2, ends="flush", simple_path=True, layer=30, datatype=0))  # Metal3
mux_2_1_routed_2.add(gdstk.FlexPath([(6.845,2.345),(6.845,3.7)], 0.2, ends="flush", simple_path=True, layer=30, datatype=0))  # Metal3
mux_2_1_routed_2.add(gdstk.FlexPath([(5.205,-0.045),(5.205,4.89)], 0.2, ends="flush", simple_path=True, layer=30, datatype=0))  # Metal3
mux_2_1_routed_2.add(gdstk.FlexPath([(5.615,1.055),(5.615,4.105)], 0.2, ends="flush", simple_path=True, layer=30, datatype=0))  # Metal3
mux_2_1_routed_2.add(gdstk.FlexPath([(3.565,0),(3.565,1.87)], 0.2, ends="flush", simple_path=True, layer=30, datatype=0))  # Metal3
mux_2_1_routed_2.add(gdstk.FlexPath([(0.285,1.02),(0.285,3.715)], 0.2, ends="flush", simple_path=True, layer=30, datatype=0))  # Metal3
mux_2_1_routed_2.add(gdstk.FlexPath([(8.485,3.265),(8.485,4.68)], 0.2, ends="flush", simple_path=True, layer=30, datatype=0))  # Metal3
mux_2_1_routed_2.add(gdstk.Reference(mux_2_1_placement_2, (1.75,0.385)))
mux_2_1_routed_2.add(gdstk.Reference(via_stack, (0.845,4.35)))
mux_2_1_routed_2.add(gdstk.Reference(via_stack, (2.78,4.35)))
mux_2_1_routed_2.add(gdstk.Reference(via_stack, (1.335,3.94)))
mux_2_1_routed_2.add(gdstk.Reference(via_stack, (1.335,3.53)))
mux_2_1_routed_2.add(gdstk.Reference(via_stack, (3.275,3.94)))
mux_2_1_routed_2.add(gdstk.Reference(via_stack, (3.275,3.53)))
mux_2_1_routed_2.add(gdstk.Reference(via_stack, (4.84,4.35)))
mux_2_1_routed_2.add(gdstk.Reference(via_stack, (6.9,4.35)))
mux_2_1_routed_2.add(gdstk.Reference(via_stack, (4.345,3.94)))
mux_2_1_routed_2.add(gdstk.Reference(via_stack, (4.345,3.53)))
mux_2_1_routed_2.add(gdstk.Reference(via_stack, (6.405,3.94)))
mux_2_1_routed_2.add(gdstk.Reference(via_stack, (6.405,3.53)))
mux_2_1_routed_2.add(gdstk.Reference(via_stack_4, (1.515,3.94)))
mux_2_1_routed_2.add(gdstk.Reference(via_stack_4, (5.66,3.94)))
mux_2_1_routed_2.add(gdstk.Reference(via_stack_4, (0.285,3.53)))
mux_2_1_routed_2.add(gdstk.Reference(via_stack_4, (6.845,3.53)))
mux_2_1_routed_2.add(gdstk.Reference(via_stack_4, (1.515,2.54)))
mux_2_1_routed_2.add(gdstk.Reference(via_stack_4, (6.845,2.54)))
mux_2_1_routed_2.add(gdstk.Reference(via_stack_4, (5.66,1.185)))
mux_2_1_routed_2.add(gdstk.Reference(via_stack_4, (0.285,1.185)))
mux_2_1_routed_2.add(gdstk.Reference(via_stack_4, (8.485,4.35)))
mux_2_1_routed_2.add(gdstk.Reference(via_stack_4, (8.485,3.53)))
mux_2_1_routed_2.add(gdstk.Reference(via_stack_4, (5.205,4.76)))
mux_2_1_routed_2.add(gdstk.Reference(via_stack_4, (2.335,4.76)))
mux_2_1_routed_2.add(gdstk.Reference(via_stack_5, (1.515,1.645)))
mux_2_1_routed_2.add(gdstk.Reference(via_stack_4, (2.335,0.135)))
mux_2_1_routed_2.add(gdstk.Reference(via_stack_4, (5.205,0.135)))

via_stack_6 = lib.new_cell('via_stack$6')
R(via_stack_6, Activ, [(-4.06,-0.15,4.06,0.15)])
A(via_stack_6, Cont, -3.99, -0.08, 0.16, 0.16, 24, 1, 0.34, 0)
R(via_stack_6, Metal1, [(-4.04,-0.08,4.04,0.08)])

mux_2_1_ni = lib.new_cell('MUX_2_1_NI')
R(mux_2_1_ni, Metal1_pin, [(1.985,0.5,2.145,0.66), (0.105,2.79,0.265,2.95), (0.085,5.085,0.245,5.245)])
R(mux_2_1_ni, Metal2, [(1.155,1.545,2.1,1.835)])
R(mux_2_1_ni, Metal2_pin, [(4.82,0.06,4.98,0.22), (2.53,0.065,2.69,0.225), (8.995,3.46,9.155,3.62)])
R(mux_2_1_ni, Metal3_pin, [(3.77,0.07,3.93,0.23)])
R(mux_2_1_ni, NWell, [(-0.52,0.005,8.28,1.645), (-0.525,4.105,8.28,5.89)])
R(mux_2_1_ni, L189_0, [(-0.055,0.58,7.765,5.165)])
r = gdstk.Reference(mux_2_1_routed_2, (0,0)); r.repetition = gdstk.Repetition(1, 1, v1=(0,0), v2=(0,0)); mux_2_1_ni.add(r)
mux_2_1_ni.add(gdstk.Reference(via_stack_6, (3.855,2.87)))
mux_2_1_ni.add(gdstk.Reference(via_stack_6, (3.855,5.165)))
mux_2_1_ni.add(gdstk.Reference(via_stack_6, (3.855,0.58)))
mux_2_1_ni.add(gdstk.Label('VDD', (0.165,5.165), layer=8, texttype=25))
mux_2_1_ni.add(gdstk.Label('VDD', (2.065,0.58), layer=8, texttype=25))
mux_2_1_ni.add(gdstk.Label('VSS', (0.185,2.87), layer=8, texttype=25))
mux_2_1_ni.add(gdstk.Label('VINA', (2.61,0.145), layer=10, texttype=25))
mux_2_1_ni.add(gdstk.Label('VINB', (4.9,0.14), layer=10, texttype=25))
mux_2_1_ni.add(gdstk.Label('VOUT', (9.075,3.54), layer=10, texttype=25))
mux_2_1_ni.add(gdstk.Label('VS', (3.85,0.15), layer=30, texttype=25))
mux_2_1_ni.add(gdstk.Label('VS', (3.845,0.19), layer=30, texttype=25))

mux_2_1_track_ = lib.new_cell('MUX_2_1(Track)')
mux_2_1_track_.add(gdstk.Reference(mux_2_1_ni, (0,0)))

mux_8_1_placement = lib.new_cell('MUX_8_1_placement')
r = gdstk.Reference(mux_4_1_track_, (0,6.04)); r.repetition = gdstk.Repetition(1, 1, v1=(0,0), v2=(0,0)); mux_8_1_placement.add(r)
r = gdstk.Reference(mux_4_1_track_, (0,5.32), x_reflection=True); r.repetition = gdstk.Repetition(1, 1, v1=(0,0), v2=(0,0)); mux_8_1_placement.add(r)
r = gdstk.Reference(mux_2_1_track_, (26.86,6.04)); r.repetition = gdstk.Repetition(1, 1, v1=(0,0), v2=(0,0)); mux_8_1_placement.add(r)

lib.write_gds('MUX_8_1_placement.gds')
